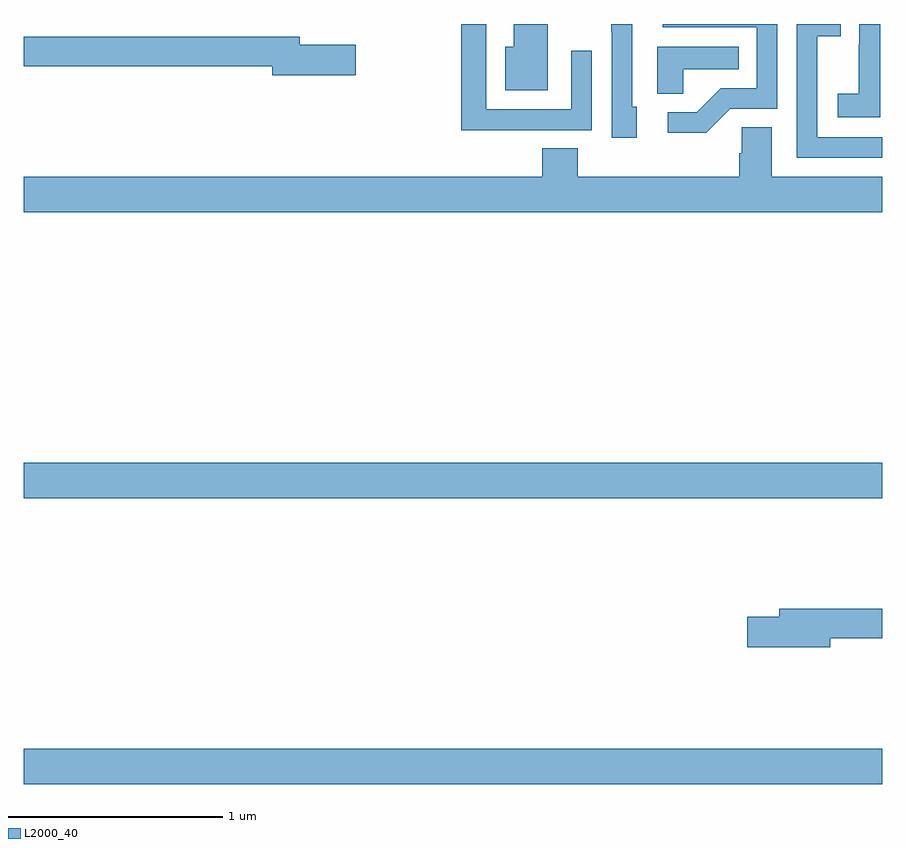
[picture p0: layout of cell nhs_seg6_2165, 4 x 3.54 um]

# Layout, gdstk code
import gdstk
lib = gdstk.Library(unit=1e-6, precision=1e-09)
def R(c, l, rs):  # rectangles x0, y0, x1, y1
    for r in rs: c.add(gdstk.rectangle(r[:2], r[2:], *l))
def P(c, l, *ps):  # polygons
    for p in ps: c.add(gdstk.Polygon(p, *l))
L2000_40 = (2000, 40)

nhs_seg6_2165 = lib.new_cell('nhs_seg6_2165')
R(nhs_seg6_2165, L2000_40, [(239,989.96,243,990.124), (239,991.292,243,991.456)])
P(nhs_seg6_2165, L2000_40, [(242.991,993.271),(242.99,993.271),(242.99,993.5),(242.892,993.5),(242.892,993.404),(242.891,993.404),(242.891,993.175),(242.793,993.175),(242.793,993.065),(242.991,993.065)],
  [(241.855,993.114),(241.836,993.114),(241.836,993.5),(241.738,993.5),(241.738,993.463),(241.74,993.463),(241.74,992.97),(241.855,992.97)],
  [(243,992.973),(242.697,992.973),(242.697,993.442),(242.807,993.442),(242.807,993.5),(242.601,993.5),(242.601,992.877),(243,992.877)],
  [(241.331,993.006),(241.647,993.006),(241.647,993.376),(241.551,993.376),(241.551,993.102),(241.155,993.102),(241.155,993.5),(241.039,993.5),(241.039,993.005),(241.331,993.005)],
  [(241.441,993.5),(241.283,993.5),(241.283,993.394),(241.244,993.394),(241.244,993.191),(241.441,993.191)],
  [(242.292,993.105),(242.511,993.105),(242.511,993.5),(241.977,993.5),(241.977,993.486),(242.415,993.486),(242.415,993.201),(242.246,993.201),(242.135,993.09),(242.001,993.09),(242.001,992.993),(242.179,992.993)],
  [(240.547,993.404),(240.286,993.404),(240.286,993.44),(239,993.44),(239,993.304),(240.158,993.304),(240.158,993.262),(240.547,993.262)],
  [(242.073,993.29),(242.33,993.29),(242.33,993.394),(241.952,993.394),(241.952,993.175),(242.073,993.175)],
  [(243,992.788),(242.485,992.788),(242.485,993.02),(242.346,993.02),(242.346,992.897),(242.333,992.897),(242.333,992.788),(241.58,992.788),(241.58,992.921),(241.415,992.921),(241.415,992.788),(239,992.788),(239,992.624),(243,992.624)],
  [(242.758,990.64),(243,990.64),(243,990.776),(242.519,990.776),(242.519,990.74),(242.37,990.74),(242.37,990.598),(242.758,990.598)])

lib.write_gds('nhs_seg6_2165.gds')
